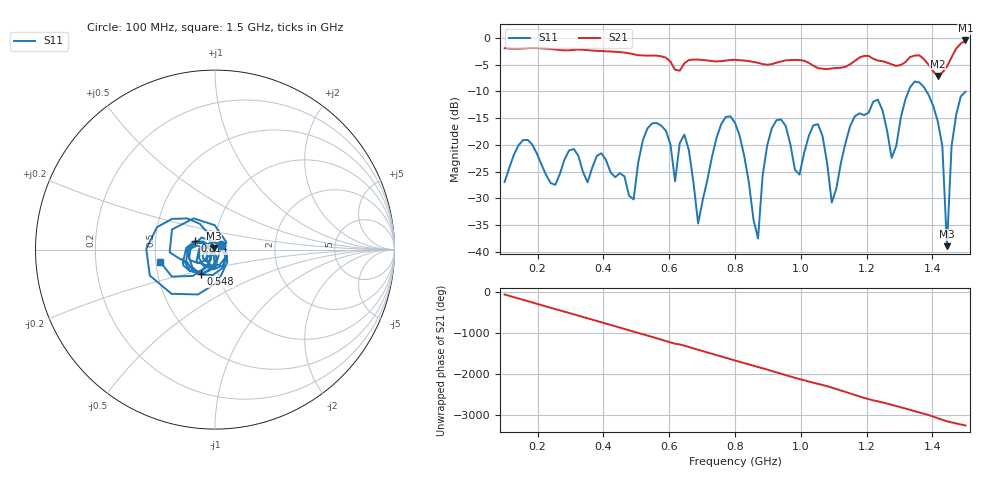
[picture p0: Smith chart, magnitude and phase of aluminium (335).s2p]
! NanoVNA-App
! Date: 2025-09-25 14:57:53
! Start: 100MHz Stop: 1,5GHz Points: 101
! S-Parameter data: F S11 S21 S12 S22
# Hz S RI R 50
!  Frequency  S11_Real  S11_Imag  S21_Real  S21_Imag  S12_Real  S12_Imag  S22_Real  S22_Imag
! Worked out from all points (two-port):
!   101 points, 100 MHz to 1.5 GHz, reference 50 ohm
!   highest |S21| = -0.48 dB at 1.5 GHz (marker M1); lowest = -7.1 dB at 1.416 GHz (marker M2)
!   |S21| within 3 dB of the highest: start of sweep to 577.5 MHz; 1.459 GHz to end of sweep (the widest 2 of 4)
!   lowest |S11| = -39.0 dB at 1.444 GHz (marker M3), VSWR 1.02, Z = 49.3 + j0.874 ohm
!   |S11| at or under -10 dB: start of sweep to 1.327 GHz; 1.382 GHz to end of sweep
!   S12 and S22 are empty: the file has one direction only
!   S11 on the Smith chart (normalised r, x): 100 MHz: 1.07, +0.06; 548 MHz: 0.82, -0.23; 814 MHz: 0.79, +0.07; 1.5 GHz: 0.53, -0.08
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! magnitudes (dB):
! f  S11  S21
! 100 MHz  -27.0  -1.9
! 338 MHz  -25.0  -2.2
! 492 MHz  -30.2  -3.1
! 548 MHz  -16.0  -3.3
! 576 MHz  -16.4  -3.5
! 618 MHz  -26.8  -6.0
! 646 MHz  -18.1  -4.8
! 688 MHz  -34.7  -4.1
! 800 MHz  -15.9  -4.1
! 814 MHz  -18.3  -4.2
! 870 MHz  -37.5  -4.7
! 912 MHz  -16.9  -4.9
! 996 MHz  -25.6  -4.2
! 1.038 GHz  -16.4  -5.2
! 1.094 GHz  -30.8  -5.7
! 1.22 GHz  -11.9  -3.9
! 1.276 GHz  -22.4  -4.9
! 1.346 GHz  -8.2  -3.3
! 1.416 GHz  -15.6  -7.1
! 1.444 GHz  -39.0  -5.3
! 1.458 GHz  -20.3  -3.6
! 1.5 GHz  -10.1  -0.5
